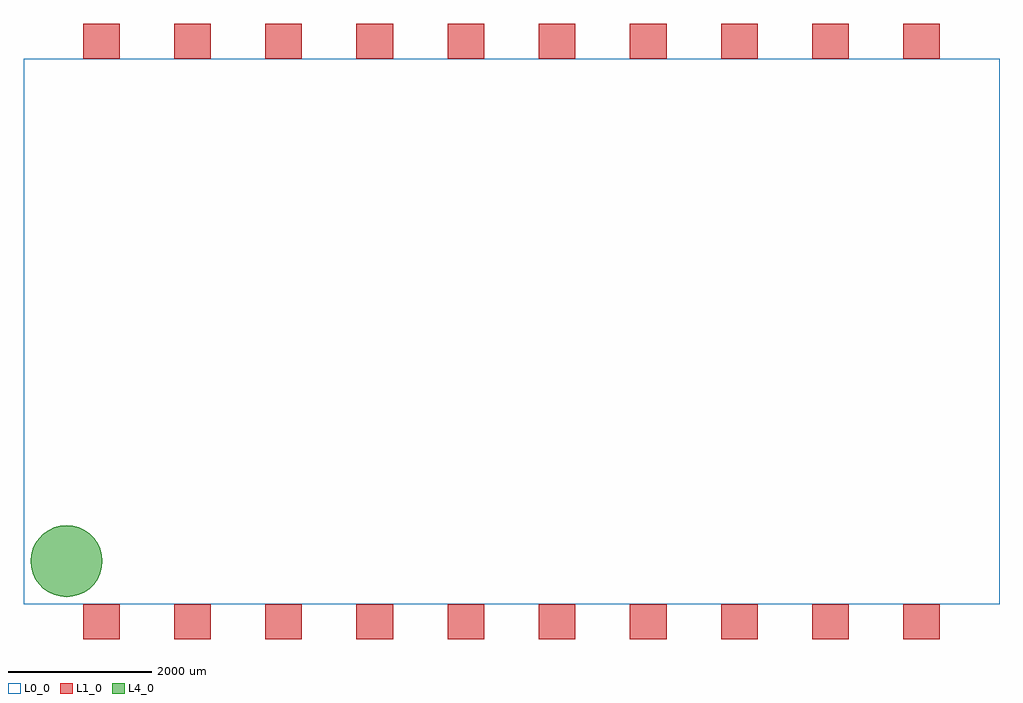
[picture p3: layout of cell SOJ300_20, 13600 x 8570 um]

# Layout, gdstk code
import gdstk
lib = gdstk.Library(unit=1e-6, precision=1e-09)
def R(c, l, rs):  # rectangles x0, y0, x1, y1
    for r in rs: c.add(gdstk.rectangle(r[:2], r[2:], *l))
def A(c, l, x, y, w, h, nx, ny, dx, dy):  # array of equal rectangles
    R(c, l, [(x+i*dx, y+j*dy, x+i*dx+w, y+j*dy+h) for i in range(nx) for j in range(ny)])
def P(c, l, *ps):  # polygons
    for p in ps: c.add(gdstk.Polygon(p, *l))
L0_0 = (0, 0)
L1_0 = (1, 0)
L4_0 = (4, 0)
L99_1 = (99, 1)
L99_2 = (99, 2)
L99_3 = (99, 3)
L99_4 = (99, 4)
L99_5 = (99, 5)
L99_6 = (99, 6)
L99_7 = (99, 7)
L99_8 = (99, 8)
L99_9 = (99, 9)
L99_10 = (99, 10)
L99_11 = (99, 11)
L99_12 = (99, 12)
L99_13 = (99, 13)
L99_14 = (99, 14)
L99_15 = (99, 15)
L99_16 = (99, 16)
L99_17 = (99, 17)
L99_18 = (99, 18)
L99_19 = (99, 19)
L99_20 = (99, 20)

soj300_20 = lib.new_cell('SOJ300_20')
R(soj300_20, L0_0, [(0,0,13600,7600)])
A(soj300_20, L1_0, 830, -485, 510, 485, 10, 2, 1270, 8085)
P(soj300_20, L4_0, [(1100,600),(1092.404,513.176),(1069.846,428.99),(1033.013,350),(983.022,278.606),(921.394,216.978),(850,166.987),(771.01,130.154),(686.824,107.596),(600,100),(513.176,107.596),(428.99,130.154),(350,166.987),(278.606,216.978),(216.978,278.606),(166.987,350),(130.154,428.99),(107.596,513.176),(100,600),(107.596,686.824),(130.154,771.01),(166.987,850),(216.978,921.394),(278.606,983.022),(350,1033.013),(428.99,1069.846),(513.176,1092.404),(600,1100),(686.824,1092.404),(771.01,1069.846),(850,1033.013),(921.394,983.022),(983.022,921.394),(1033.013,850),(1069.846,771.01),(1092.404,686.824)])
soj300_20.add(gdstk.FlexPath([(1340,0),(830,0)], 0, ends="round", simple_path=True, layer=99, datatype=1))  # L99_1
soj300_20.add(gdstk.FlexPath([(2610,0),(2100,0)], 0, ends="round", simple_path=True, layer=99, datatype=2))  # L99_2
soj300_20.add(gdstk.FlexPath([(3880,0),(3370,0)], 0, ends="round", simple_path=True, layer=99, datatype=3))  # L99_3
soj300_20.add(gdstk.FlexPath([(5150,0),(4640,0)], 0, ends="round", simple_path=True, layer=99, datatype=4))  # L99_4
soj300_20.add(gdstk.FlexPath([(6420,0),(5910,0)], 0, ends="round", simple_path=True, layer=99, datatype=5))  # L99_5
soj300_20.add(gdstk.FlexPath([(7690,0),(7180,0)], 0, ends="round", simple_path=True, layer=99, datatype=6))  # L99_6
soj300_20.add(gdstk.FlexPath([(8960,0),(8450,0)], 0, ends="round", simple_path=True, layer=99, datatype=7))  # L99_7
soj300_20.add(gdstk.FlexPath([(10230,0),(9720,0)], 0, ends="round", simple_path=True, layer=99, datatype=8))  # L99_8
soj300_20.add(gdstk.FlexPath([(11500,0),(10990,0)], 0, ends="round", simple_path=True, layer=99, datatype=9))  # L99_9
soj300_20.add(gdstk.FlexPath([(12770,0),(12260,0)], 0, ends="round", simple_path=True, layer=99, datatype=10))  # L99_10
soj300_20.add(gdstk.FlexPath([(830,7600),(1340,7600)], 0, ends="round", simple_path=True, layer=99, datatype=20))  # L99_20
soj300_20.add(gdstk.FlexPath([(2100,7600),(2610,7600)], 0, ends="round", simple_path=True, layer=99, datatype=19))  # L99_19
soj300_20.add(gdstk.FlexPath([(3370,7600),(3880,7600)], 0, ends="round", simple_path=True, layer=99, datatype=18))  # L99_18
soj300_20.add(gdstk.FlexPath([(4640,7600),(5150,7600)], 0, ends="round", simple_path=True, layer=99, datatype=17))  # L99_17
soj300_20.add(gdstk.FlexPath([(5910,7600),(6420,7600)], 0, ends="round", simple_path=True, layer=99, datatype=16))  # L99_16
soj300_20.add(gdstk.FlexPath([(7180,7600),(7690,7600)], 0, ends="round", simple_path=True, layer=99, datatype=15))  # L99_15
soj300_20.add(gdstk.FlexPath([(8450,7600),(8960,7600)], 0, ends="round", simple_path=True, layer=99, datatype=14))  # L99_14
soj300_20.add(gdstk.FlexPath([(9720,7600),(10230,7600)], 0, ends="round", simple_path=True, layer=99, datatype=13))  # L99_13
soj300_20.add(gdstk.FlexPath([(10990,7600),(11500,7600)], 0, ends="round", simple_path=True, layer=99, datatype=12))  # L99_12
soj300_20.add(gdstk.FlexPath([(12260,7600),(12770,7600)], 0, ends="round", simple_path=True, layer=99, datatype=11))  # L99_11

lib.write_gds('SOJ300_20.gds')
